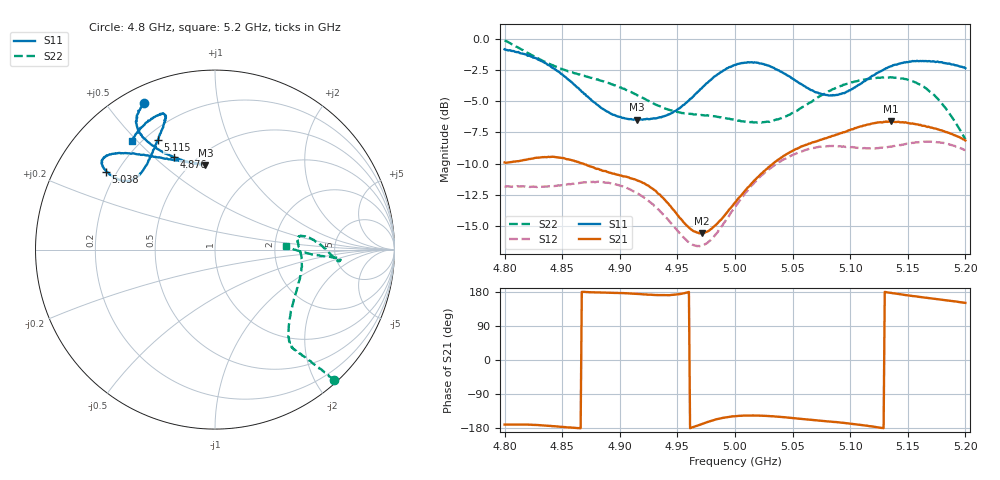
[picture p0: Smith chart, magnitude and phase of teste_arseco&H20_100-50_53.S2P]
! Network Analyzer HP8722D
! Hewlett-Packard
! Data name: Linha & Wilkinson
! Saver's name: Rodrigo Anjos
! Comments: Teste da utilização de aquisição
! continua pelo VNA HP8722D
! Time and date: 6/5/2025 13:00
!  Frequency  S11  S21  S12  S22
# HZ  S  MA R 50
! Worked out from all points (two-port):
!   401 points, 4.8 GHz to 5.2 GHz, reference 50 ohm
!   highest |S21| = -6.62 dB at 5.135 GHz (marker M1); lowest = -15.6 dB at 4.971 GHz (marker M2)
!   |S21| within 3 dB of the highest: 4.822 GHz to 4.853 GHz (31.27 MHz wide, 0.646 % of centre); 5.038 GHz to end of sweep
!   lowest |S11| = -6.5 dB at 4.915 GHz (marker M3), VSWR 2.80, Z = 29.1 + j35.4 ohm
!   |S11| at or under -10 dB: nowhere
!   |S22| runs from -8.0 to -0.2 dB; largest |S21 - S12| = 0.83
!   S11 on the Smith chart (normalised r, x): 4.8 GHz: 0.07, +0.62; 4.876 GHz: 0.38, +0.58; 5.038 GHz: 0.16, +0.31; 5.115 GHz: 0.25, +0.58; 5.2 GHz: 0.17, +0.48
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4.8e9  0.9061 115.8  0.3199 -170.5  0.2565 -85.9  0.9828 -47.4
4.834e9  0.8037 122.6  0.3356 -172.7  0.2561 -76.8  0.8108 -49.6
4.849e9  0.7228 122.2  0.3342 -176.4  0.2593 -71.7  0.7574 -50.5
4.867e9  0.6127 118.1  0.3172 179.8  0.2658 -67.3  0.7141 -51.5
4.876e9  0.5636 114.1  0.3069 178.6  0.267 -66.2  0.6958 -52.0
4.9e9  0.4865 101.2  0.284 176.8  0.2587 -66.5  0.6382 -50.1
4.915e9  0.474 96.5  0.271 174.3  0.2415 -68.2  0.5939 -46.3
4.934e9  0.4845 99.3  0.2391 171.1  0.2069 -69.3  0.5384 -37.5
4.959e9  0.5613 116.3  0.1776 178.5  0.1544 -58.8  0.5009 -21.0
4.971e9  0.6319 124.7  0.1666 -169.4  0.1484 -45.1  0.4952 -13.8
4.982e9  0.7048 130.4  0.1779 -158.2  0.1622 -32.9  0.4894 -8.1
5e9  0.7841 137.3  0.221 -148.4  0.2124 -21.3  0.4725 -0.3
5.018e9  0.8024 141.8  0.2739 -146.5  0.2688 -18.2  0.463 5.9
5.038e9  0.7464 144.4  0.3293 -149.7  0.3203 -18.4  0.477 8.9
5.067e9  0.6216 141.8  0.3844 -158.1  0.3652 -20.4  0.561 4.7
5.088e9  0.5953 132.8  0.4134 -163.9  0.3716 -23.6  0.6367 -1.7
5.115e9  0.6893 117.6  0.4534 -173.6  0.364 -26.6  0.6893 -5.2
5.134e9  0.7708 111.1  0.4653 177.7  0.3691 -28.7  0.6996 -4.8
5.135e9  0.7747 111.3  0.4665 177.4  0.3703 -28.6  0.7008 -4.6
5.163e9  0.814 113.1  0.4482 165.4  0.3865 -35.5  0.6443 -3.5
5.181e9  0.7992 119.4  0.4269 158.4  0.3829 -41.1  0.5407 -2.9
5.2e9  0.7615 127.3  0.3915 150.7  0.3585 -46.2  0.3963 2.5
